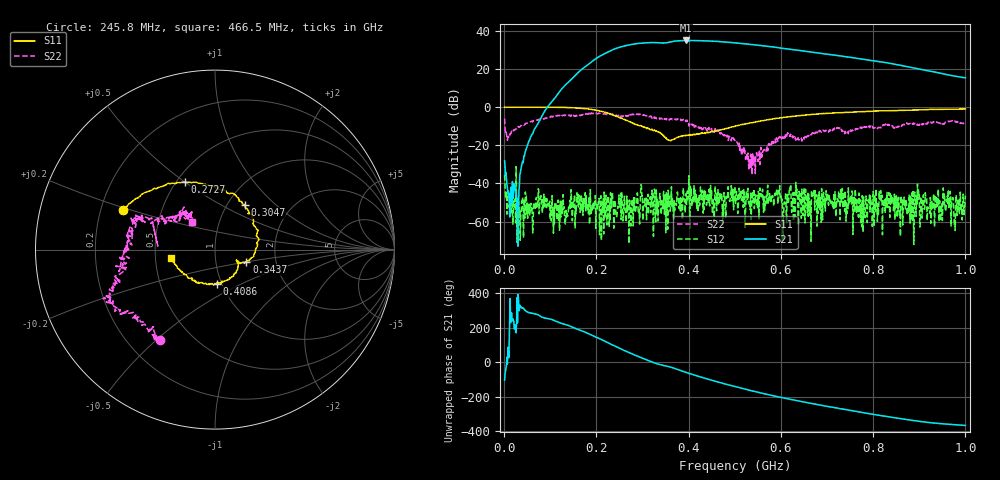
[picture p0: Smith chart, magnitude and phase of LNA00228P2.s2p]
! Created with skrf 1.9.0 (http://scikit-rf.org).
# Hz S RI R 50.0
!freq ReS11 ImS11 ReS21 ImS21 ReS12 ImS12 ReS22 ImS22
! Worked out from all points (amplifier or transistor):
!   1001 points, 1 MHz to 1 GHz, reference 50 ohm
!   highest |S21| = 34.9 dB at 394.6 MHz (marker M1)
!   |S21| within 3 dB of that: 259.6 MHz to 568.2 MHz (308.6 MHz wide, 74.6 % of centre)
!   unconditionally stable (mu >= 1): start of sweep to 103.7 MHz; 297.9 MHz to 400.5 MHz; 400.7 MHz to end of sweep (the widest 3 of 26)
!   at 166.8 MHz: K = 1.41, MAG = 28.9 dB, |S12| = -45.9 dB
!   at 500.5 MHz: K = 1.35, MAG = 34.2 dB, |S12| = -41.7 dB
!   at 1 GHz: K = 2.69, MAG = 23.7 dB, |S12| = -46.3 dB
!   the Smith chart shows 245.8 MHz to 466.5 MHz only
!   S11 on the Smith chart (normalised r, x): 245.8 MHz: 0.29, +0.19; 272.7 MHz: 0.55, +0.50; 304.7 MHz: 1.20, +0.66; 343.7 MHz: 1.41, -0.20; 408.6 MHz: 0.95, -0.37; 466.5 MHz: 0.61, -0.06
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1000000  0.991 0.00357  -0.00881 -0.0383  -0.013 0.0103  0.3673 0.3404
1.08892e8  0.5045 -0.8537  -0.8002 -1.477  0.000605 -0.000634  0.4175 -0.3787
1.67833e8  -0.2615 -0.8914  -9.652 -0.513  0.0042 -0.000883  0.0412 -0.6331
2.11789e8  -0.7023 -0.3217  -14.92 17.6  -0.00131 0.00027  -0.1751 -0.6534
2.45755e8  -0.5151 0.2202  1.956 35.37  0.00168 -0.00127  -0.3066 -0.5021
2.72728e8  -0.168 0.3769  25.42 34.87  -0.00119 0.00319  -0.5327 -0.3618
3.04696e8  0.1664 0.2497  45.88 14.49  -0.00169 0.00361  -0.5715 -0.203
3.34666e8  0.2233 -0.0153  47.46 -9.651  -0.00207 0.000873  -0.5208 -0.0477
3.43657e8  0.1752 -0.0677  45.36 -14.81  0.00101 0.00238  -0.5077 -0.0145
3.68632e8  0.1298 -0.0728  43.57 -30.34  -0.00208 0.00308  -0.4555 0.136
3.94606e8  0.0782 -0.1661  28.57 -47.8  -0.00113 0.00529  -0.4136 0.1709
4.08592e8  0.00916 -0.1909  17.61 -52.69  0.000375 0.00434  -0.2959 0.1894
4.36564e8  -0.1299 -0.158  -4.001 -54.24  0.00593 -0.00116  -0.1917 0.2154
4.66534e8  -0.2425 -0.0488  -23.78 -46.03  0.000842 -0.00311  -0.1303 0.154
5.005e8  -0.2767 0.1424  -38.01 -30.07  0.0031 -0.00761  -0.1015 0.0854
5.4046e8  -0.1986 0.349  -42.09 -8.705  0.00295 0.00345  -0.0515 0.00356
5.88412e8  0.0132 0.503  -35 11.21  0.00452 0.000356  -0.0805 -0.0847
6.67333e8  0.3991 0.5039  -13.65 23.67  0.00231 -0.00389  -0.1953 -0.0647
7.53247e8  0.6814 0.2839  3.81 19.44  2.58e-05 -0.0029  -0.231 -0.0231
8.34166e8  0.8013 0.0185  10.37 9.623  -0.00528 0.00228  -0.3442 -0.0444
9.13087e8  0.8195 -0.2591  8.994 1.931  -0.00274 0.00501  -0.365 0.0921
1e9  0.727 -0.5242  5.815 -0.7315  -0.0044 0.00202  -0.3144 0.2263
